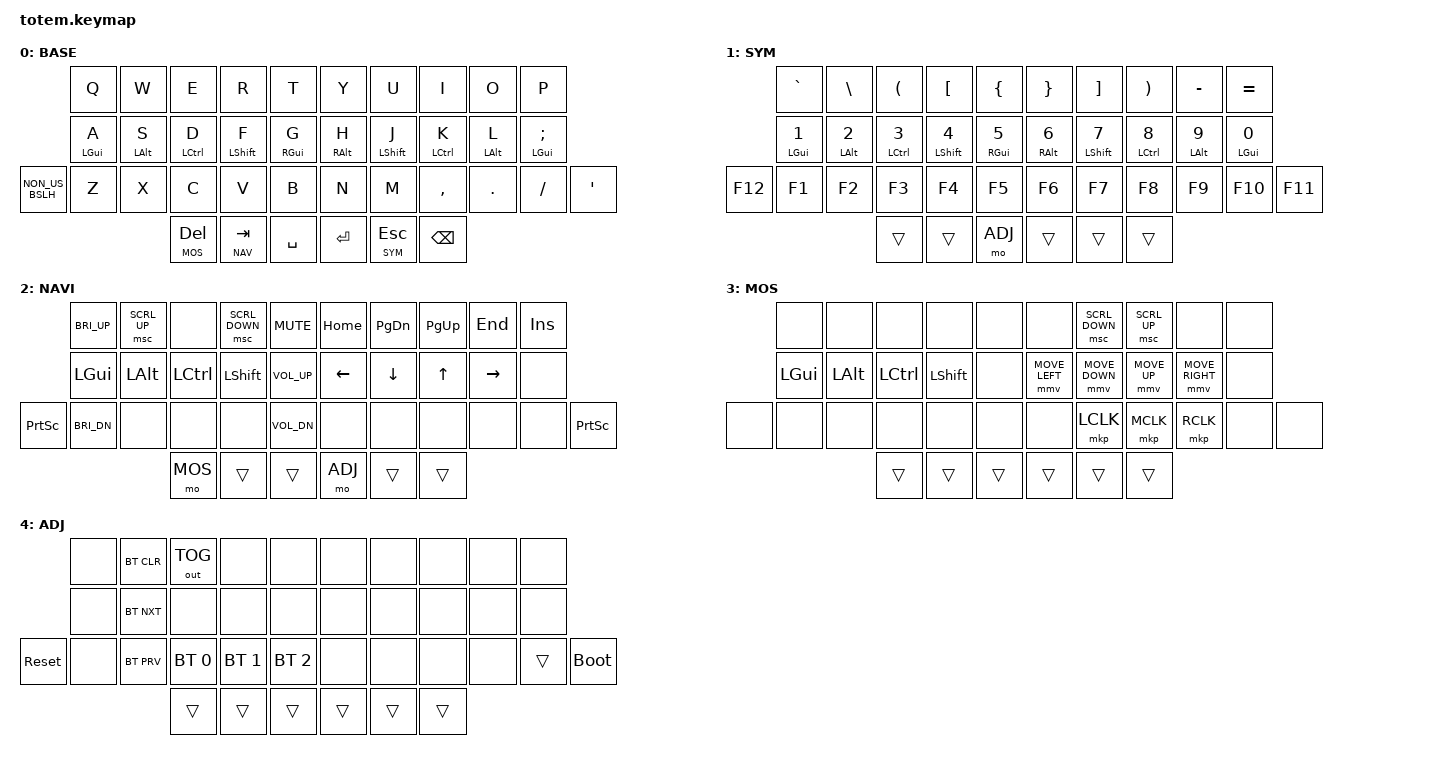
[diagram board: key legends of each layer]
//
//                                                        ▀▀▀▀▀     ▀▀▀▀▀          ▀▀█▀▀
//                                                        ▄▀▀▀▄  ▄  ▄▀▀▀▄  ▄  ▄▀▀▀▄  █  ▄▀▀▀▄
//                                                        █   █  █  █   █  █  █   █  █  █   █
//                                                         ▀▀▀   █   ▀▀▀   █   ▀▀▀   ▀   ▀▀▀
//                                                               █      ▄▄▄█▄▄▄    █   █
//                                                               ▀      █  █  █     █▄█
//                                                             ▀▀▀▀▀    █  █  █      ▀
//                                                                      ▀  ▀  ▀
//
// ▄▄▄▄▄▄▄▄▄▄▄▄▄▄▄▄▄▄▄▄▄▄▄▄▄▄▄▄▄▄▄▄▄▄▄▄▄▄▄▄▄▄▄▄▄▄▄▄▄▄▄▄▄▄▄▄▄▄▄▄▄▄▄▄▄▄▄▄▄▄▄▄▄▄▄▄▄▄▄▄▄▄▄▄▄▄▄▄▄▄▄▄▄▄▄▄▄▄▄▄▄▄▄▄▄▄▄▄▄▄▄▄▄▄▄▄▄▄▄▄▄▄▄▄▄▄▄▄▄▄▄▄▄▄▄▄▄▄▄▄▄▄▄▄▄▄▄▄▄

#define ZMK_POINTING_DEFAULT_MOVE_VAL 1000  // default: 600
#define ZMK_POINTING_DEFAULT_SCRL_VAL 20    // default: 10

#include <behaviors.dtsi>
#include <dt-bindings/zmk/keys.h>
#include <dt-bindings/zmk/bt.h>
#include <dt-bindings/zmk/outputs.h>
#include <dt-bindings/zmk/pointing.h>

#define BASE 0
#define SYM  1
#define NAV  2
#define MOS  3
#define ADJ  4


&mmv {
    time-to-max-speed-ms = <200>;
    acceleration-exponent = <2>;
};

&msc {
    time-to-max-speed-ms = <200>;
    acceleration-exponent = <2>;
};

&mt {
  quick-tap-ms = <200>;
  global-quick-tap;
  flavor = "tap-preferred";
  tapping-term-ms = <200>;
};

/ {
     combos {
            compatible = "zmk,combos";
            combo_esc {
                timeout-ms = <50>;
                key-positions = <0 1>;
                bindings = <&kp ESC>;
            };
//            combo_tvp {
//                timeout-ms = <100>;
//                key-positions = <11 12 13>;
//                bindings = <&tog TVP1>;
//            };
    };

//    macros {
//        gif: gif {
//            label = "giphy";
//            compatible = "zmk,behavior-macro";
//            #binding-cells = <0>;
//            bindings
//                = <&macro_press &kp LSHFT>
//                , <&macro_tap &kp N2>
//                , <&macro_release &kp LSHFT>
//                , <&macro_tap &kp G &kp I &kp F>
//                ;
//        };
//    };

        keymap {
                compatible = "zmk,keymap";
// ▄▄▄▄▄▄▄▄▄▄▄▄▄▄▄▄▄▄▄▄▄▄▄▄▄▄▄▄▄▄▄▄▄▄▄▄▄▄▄▄▄▄▄▄▄▄▄▄▄▄▄▄▄▄▄▄▄▄▄▄▄▄▄▄▄▄▄▄▄▄▄▄▄▄▄▄▄▄▄▄▄▄▄▄▄▄▄▄▄▄▄▄▄▄▄▄▄▄▄▄▄▄▄▄▄▄▄▄▄▄▄▄▄▄▄▄▄▄▄▄▄▄▄▄▄▄▄▄▄▄▄▄▄▄▄▄▄▄▄▄▄▄▄▄▄▄▄▄▄

                base_layer {
// ┏━━━━━━━━━━━━━━━━━━━━━━━━━━━━━━━━━━━━━━━┓
label= "BASE"                              ;
// ┗━━━━━━━━━━━━━━━━━━━━━━━━━━━━━━━━━━━━━━━┛
//             ┏━━━━━━━━━━━┳━━━━━━━━━━━┳━━━━━━━━━━━┳━━━━━━━━━━━┳━━━━━━━━━━━┓   ┏━━━━━━━━━━━┳━━━━━━━━━━━┳━━━━━━━━━━━┳━━━━━━━━━━━┳━━━━━━━━━━━┓
//             ┃     Q     ┃     W     ┃     E     ┃     R     ┃     T     ┃   ┃     Y     ┃     U     ┃     I     ┃     O     ┃     P     ┃
//             ┣━━━━━━━━━━━╋━━━━━━━━━━━╋━━━━━━━━━━━╋━━━━━━━━━━━╋━━━━━━━━━━━┫   ┣━━━━━━━━━━━╋━━━━━━━━━━━╋━━━━━━━━━━━╋━━━━━━━━━━━╋━━━━━━━━━━━┫
//             ┃     A     ┃     S     ┃     D     ┃     F     ┃     G     ┃   ┃     H     ┃     J     ┃     K     ┃     L     ┃     ;     ┃
// ┏━━━━━━━━━━━╋━━━━━━━━━━━╋━━━━━━━━━━━╋━━━━━━━━━━━╋━━━━━━━━━━━╋━━━━━━━━━━━┫   ┣━━━━━━━━━━━╋━━━━━━━━━━━╋━━━━━━━━━━━╋━━━━━━━━━━━╋━━━━━━━━━━━╋━━━━━━━━━━━┓
// ┃     \     ┃     Z     ┃     X     ┃     C     ┃     V     ┃     B     ┃   ┃     N     ┃     M     ┃     ,     ┃     .     ┃     /     ┃     '     ┃
// ┗━━━━━━━━━━━┻━━━━━━━━━━━┻━━━━━━━━━━━╋━━━━━━━━━━━╋━━━━━━━━━━━╋━━━━━━━━━━━┫   ┣━━━━━━━━━━━╋━━━━━━━━━━━╋━━━━━━━━━━━╋━━━━━━━━━━━┻━━━━━━━━━━━┻━━━━━━━━━━━┛
//                                     ┃    DEL    ┃    TAB    ┃    SPC    ┃   ┃   ENTER   ┃    ESC    ┃   BSPC    ┃
//                                     ┗━━━━━━━━━━━┻━━━━━━━━━━━┻━━━━━━━━━━━┛   ┗━━━━━━━━━━━┻━━━━━━━━━━━┻━━━━━━━━━━━┛
 bindings = <
// ╷           ╷           ╷           ╷           ╷           ╷           ╷   ╷           ╷           ╷           ╷           ╷           ╷           ╷

                &kp Q       &kp W       &kp E       &kp R       &kp T           &kp Y       &kp U       &kp I       &kp O       &kp P
                &mt LGUI A  &mt LALT S  &mt LCTRL D &mt LSHFT F &mt RGUI G      &mt RALT H  &mt LSHFT J &mt LCTRL K &mt LALT L  &mt LGUI SEMI
    &kp NON_US_BSLH &kp Z   &kp X       &kp C       &kp V       &kp B           &kp N       &kp M       &kp COMMA   &kp DOT     &kp FSLH    &kp APOS
                                        &lt MOS DEL &lt NAV TAB &kp SPACE       &kp RET     &lt SYM ESC &kp BSPC
                        >;
                };

// ▄▄▄▄▄▄▄▄▄▄▄▄▄▄▄▄▄▄▄▄▄▄▄▄▄▄▄▄▄▄▄▄▄▄▄▄▄▄▄▄▄▄▄▄▄▄▄▄▄▄▄▄▄▄▄▄▄▄▄▄▄▄▄▄▄▄▄▄▄▄▄▄▄▄▄▄▄▄▄▄▄▄▄▄▄▄▄▄▄▄▄▄▄▄▄▄▄▄▄▄▄▄▄▄▄▄▄▄▄▄▄▄▄▄▄▄▄▄▄▄▄▄▄▄▄▄▄▄▄▄▄▄▄▄▄▄▄▄▄▄▄▄▄▄▄▄▄▄▄


                sim_layer {
// ┏━━━━━━━━━━━━━━━━━━━━━━━━━━━━━━━━━━━━━━━┓
label= "SYM"                               ;
// ┗━━━━━━━━━━━━━━━━━━━━━━━━━━━━━━━━━━━━━━━┛
//             ┏━━━━━━━━━━━┳━━━━━━━━━━━┳━━━━━━━━━━━┳━━━━━━━━━━━┳━━━━━━━━━━━┓   ┏━━━━━━━━━━━┳━━━━━━━━━━━┳━━━━━━━━━━━┳━━━━━━━━━━━┳━━━━━━━━━━━┓
//             ┃     `     ┃     \     ┃     (     ┃     [     ┃     {     ┃   ┃     }     ┃     ]     ┃     )     ┃     -     ┃     =     ┃
//             ┣━━━━━━━━━━━╋━━━━━━━━━━━╋━━━━━━━━━━━╋━━━━━━━━━━━╋━━━━━━━━━━━┫   ┣━━━━━━━━━━━╋━━━━━━━━━━━╋━━━━━━━━━━━╋━━━━━━━━━━━╋━━━━━━━━━━━┫
//             ┃     1     ┃     2     ┃     3     ┃     4     ┃     5     ┃   ┃     6     ┃     7     ┃     8     ┃     9     ┃     0     ┃
// ┏━━━━━━━━━━━╋━━━━━━━━━━━╋━━━━━━━━━━━╋━━━━━━━━━━━╋━━━━━━━━━━━╋━━━━━━━━━━━┫   ┣━━━━━━━━━━━╋━━━━━━━━━━━╋━━━━━━━━━━━╋━━━━━━━━━━━╋━━━━━━━━━━━╋━━━━━━━━━━━┓
// ┃   F12     ┃     F1    ┃     F2    ┃     F3    ┃     F4    ┃     F5    ┃   ┃     F6    ┃     F7    ┃     F8    ┃     F9    ┃    F10    ┃    F11    ┃
// ┗━━━━━━━━━━━┻━━━━━━━━━━━┻━━━━━━━━━━━╋━━━━━━━━━━━╋━━━━━━━━━━━╋━━━━━━━━━━━┫   ┣━━━━━━━━━━━╋━━━━━━━━━━━╋━━━━━━━━━━━╋━━━━━━━━━━━┻━━━━━━━━━━━┻━━━━━━━━━━━┛
//                                     ┃           ┃           ┃    ADJ    ┃   ┃           ┃           ┃           ┃
//                                     ┗━━━━━━━━━━━┻━━━━━━━━━━━┻━━━━━━━━━━━┛   ┗━━━━━━━━━━━┻━━━━━━━━━━━┻━━━━━━━━━━━┛
 bindings = <
// ╷           ╷           ╷           ╷           ╷           ╷           ╷   ╷           ╷           ╷           ╷           ╷           ╷           ╷

                &kp GRAVE   &kp BSLH    &kp LPAR    &kp LBKT    &kp LBRC        &kp RBRC    &kp RBKT    &kp RPAR    &kp MINUS    &kp EQUAL
                &mt LGUI N1 &mt LALT N2 &mt LCTRL N3 &mt LSHFT N4 &mt RGUI N5   &mt RALT N6 &mt LSHFT N7 &mt LCTRL N8 &mt LALT N9 &mt LGUI N0
    &kp F12     &kp F1      &kp F2      &kp F3      &kp F4      &kp F5          &kp F6      &kp F7      &kp F8      &kp F9      &kp F10     &kp F11
                                        &trans      &trans      &mo ADJ         &trans      &trans      &trans
                        >;
                };

// ▄▄▄▄▄▄▄▄▄▄▄▄▄▄▄▄▄▄▄▄▄▄▄▄▄▄▄▄▄▄▄▄▄▄▄▄▄▄▄▄▄▄▄▄▄▄▄▄▄▄▄▄▄▄▄▄▄▄▄▄▄▄▄▄▄▄▄▄▄▄▄▄▄▄▄▄▄▄▄▄▄▄▄▄▄▄▄▄▄▄▄▄▄▄▄▄▄▄▄▄▄▄▄▄▄▄▄▄▄▄▄▄▄▄▄▄▄▄▄▄▄▄▄▄▄▄▄▄▄▄▄▄▄▄▄▄▄▄▄▄▄▄▄▄▄▄▄▄▄


                nav_layer {
// ┏━━━━━━━━━━━━━━━━━━━━━━━━━━━━━━━━━━━━━━━┓
label= "NAVI"                              ;
// ┗━━━━━━━━━━━━━━━━━━━━━━━━━━━━━━━━━━━━━━━┛
//             ┏━━━━━━━━━━━┳━━━━━━━━━━━┳━━━━━━━━━━━┳━━━━━━━━━━━┳━━━━━━━━━━━┓   ┏━━━━━━━━━━━┳━━━━━━━━━━━┳━━━━━━━━━━━┳━━━━━━━━━━━┳━━━━━━━━━━━┓
//             ┃   BR UP   ┃ SCRL UP   ┃  M UP     ┃ SCRL DN   ┃  MUTE     ┃   ┃   HOME    ┃  PG DN    ┃  PG UP    ┃    END    ┃   INS     ┃
//             ┣━━━━━━━━━━━╋━━━━━━━━━━━╋━━━━━━━━━━━╋━━━━━━━━━━━╋━━━━━━━━━━━┫   ┣━━━━━━━━━━━╋━━━━━━━━━━━╋━━━━━━━━━━━╋━━━━━━━━━━━╋━━━━━━━━━━━┫
//             ┃   LGUI    ┃  LALT     ┃  LCTRL    ┃  LSHIFT   ┃ VOL UP    ┃   ┃   LEFT    ┃   DOWRN   ┃     UP    ┃   RIGHT   ┃   DEL     ┃
// ┏━━━━━━━━━━━╋━━━━━━━━━━━╋━━━━━━━━━━━╋━━━━━━━━━━━╋━━━━━━━━━━━╋━━━━━━━━━━━┫   ┣━━━━━━━━━━━╋━━━━━━━━━━━╋━━━━━━━━━━━╋━━━━━━━━━━━╋━━━━━━━━━━━╋━━━━━━━━━━━┓
// ┃  PRT SCR  ┃   BR DN   ┃           ┃           ┃           ┃ VOL DN    ┃   ┃           ┃           ┃           ┃           ┃           ┃  PRT SCR  ┃
// ┗━━━━━━━━━━━┻━━━━━━━━━━━┻━━━━━━━━━━━╋━━━━━━━━━━━╋━━━━━━━━━━━╋━━━━━━━━━━━┫   ┣━━━━━━━━━━━╋━━━━━━━━━━━╋━━━━━━━━━━━╋━━━━━━━━━━━┻━━━━━━━━━━━┻━━━━━━━━━━━┛
//                                     ┃  MOS      ┃           ┃           ┃   ┃   ADJ     ┃           ┃           ┃
//                                     ┗━━━━━━━━━━━┻━━━━━━━━━━━┻━━━━━━━━━━━┛   ┗━━━━━━━━━━━┻━━━━━━━━━━━┻━━━━━━━━━━━┛
 bindings = <
// ╷           ╷           ╷           ╷           ╷           ╷           ╷   ╷           ╷           ╷           ╷           ╷           ╷           ╷

               &kp C_BRI_UP &msc SCRL_UP &none      &msc SCRL_DOWN &kp C_MUTE   &kp HOME    &kp PG_DN   &kp PG_UP   &kp END     &kp INS
               &kp LGUI     &kp LALT    &kp LCTRL   &kp LSHFT   &kp C_VOL_UP    &kp LEFT    &kp DOWN    &kp UP      &kp RIGHT   &none
    &kp PSCRN  &kp C_BRI_DN &none       &none       &none       &kp C_VOL_DN    &none       &none       &none       &none       &none       &kp PSCRN
                                        &mo MOS     &trans      &trans          &mo ADJ     &trans      &trans
                        >;
                };

// ▄▄▄▄▄▄▄▄▄▄▄▄▄▄▄▄▄▄▄▄▄▄▄▄▄▄▄▄▄▄▄▄▄▄▄▄▄▄▄▄▄▄▄▄▄▄▄▄▄▄▄▄▄▄▄▄▄▄▄▄▄▄▄▄▄▄▄▄▄▄▄▄▄▄▄▄▄▄▄▄▄▄▄▄▄▄▄▄▄▄▄▄▄▄▄▄▄▄▄▄▄▄▄▄▄▄▄▄▄▄▄▄▄▄▄▄▄▄▄▄▄▄▄▄▄▄▄▄▄▄▄▄▄▄▄▄▄▄▄▄▄▄▄▄▄▄▄▄▄


                ms_layer {
// ┏━━━━━━━━━━━━━━━━━━━━━━━━━━━━━━━━━━━━━━━┓
label= "MOS"                               ;
// ┗━━━━━━━━━━━━━━━━━━━━━━━━━━━━━━━━━━━━━━━┛
//             ┏━━━━━━━━━━━┳━━━━━━━━━━━┳━━━━━━━━━━━┳━━━━━━━━━━━┳━━━━━━━━━━━┓   ┏━━━━━━━━━━━┳━━━━━━━━━━━┳━━━━━━━━━━━┳━━━━━━━━━━━┳━━━━━━━━━━━┓
//             ┃           ┃           ┃           ┃           ┃           ┃   ┃           ┃ SCRL DN   ┃ SCRL UP   ┃           ┃           ┃
//             ┣━━━━━━━━━━━╋━━━━━━━━━━━╋━━━━━━━━━━━╋━━━━━━━━━━━╋━━━━━━━━━━━┫   ┣━━━━━━━━━━━╋━━━━━━━━━━━╋━━━━━━━━━━━╋━━━━━━━━━━━╋━━━━━━━━━━━┫
//             ┃   LGUI    ┃  LALT     ┃  LCTRL    ┃  LSHIFT   ┃           ┃   ┃ M LEFT    ┃ M DOWN    ┃   M UP    ┃ M RIGHT   ┃           ┃
// ┏━━━━━━━━━━━╋━━━━━━━━━━━╋━━━━━━━━━━━╋━━━━━━━━━━━╋━━━━━━━━━━━╋━━━━━━━━━━━┫   ┣━━━━━━━━━━━╋━━━━━━━━━━━╋━━━━━━━━━━━╋━━━━━━━━━━━╋━━━━━━━━━━━╋━━━━━━━━━━━┓
// ┃           ┃           ┃           ┃           ┃           ┃           ┃   ┃           ┃  MB LEFT  ┃ MB MIDDLE ┃ MB RIGHT  ┃           ┃           ┃
// ┗━━━━━━━━━━━┻━━━━━━━━━━━┻━━━━━━━━━━━╋━━━━━━━━━━━╋━━━━━━━━━━━╋━━━━━━━━━━━┫   ┣━━━━━━━━━━━╋━━━━━━━━━━━╋━━━━━━━━━━━╋━━━━━━━━━━━┻━━━━━━━━━━━┻━━━━━━━━━━━┛
//                                     ┃           ┃           ┃           ┃   ┃           ┃           ┃           ┃
//                                     ┗━━━━━━━━━━━┻━━━━━━━━━━━┻━━━━━━━━━━━┛   ┗━━━━━━━━━━━┻━━━━━━━━━━━┻━━━━━━━━━━━┛
 bindings = <
// ╷           ╷           ╷           ╷           ╷           ╷           ╷   ╷           ╷           ╷           ╷           ╷           ╷           ╷

                &none       &none       &none       &none       &none           &none       &msc SCRL_DOWN &msc SCRL_UP &none    &none
                &kp LGUI    &kp LALT    &kp LCTRL   &kp LSHFT   &none        &mmv MOVE_LEFT &mmv MOVE_DOWN &mmv MOVE_UP &mmv MOVE_RIGHT &none
    &none       &none       &none       &none       &none       &none           &none       &mkp LCLK   &mkp MCLK   &mkp RCLK    &none     &none
                                        &trans      &trans      &trans          &trans      &trans      &trans
                        >;
                };

// ▄▄▄▄▄▄▄▄▄▄▄▄▄▄▄▄▄▄▄▄▄▄▄▄▄▄▄▄▄▄▄▄▄▄▄▄▄▄▄▄▄▄▄▄▄▄▄▄▄▄▄▄▄▄▄▄▄▄▄▄▄▄▄▄▄▄▄▄▄▄▄▄▄▄▄▄▄▄▄▄▄▄▄▄▄▄▄▄▄▄▄▄▄▄▄▄▄▄▄▄▄▄▄▄▄▄▄▄▄▄▄▄▄▄▄▄▄▄▄▄▄▄▄▄▄▄▄▄▄▄▄▄▄▄▄▄▄▄▄▄▄▄▄▄▄▄▄▄▄


                adjust_layer {
// ┏━━━━━━━━━━━━━━━━━━━━━━━━━━━━━━━━━━━━━━━┓
label= "ADJ"                               ;
// ┗━━━━━━━━━━━━━━━━━━━━━━━━━━━━━━━━━━━━━━━┛
//             ┏━━━━━━━━━━━┳━━━━━━━━━━━┳━━━━━━━━━━━┳━━━━━━━━━━━┳━━━━━━━━━━━┓   ┏━━━━━━━━━━━┳━━━━━━━━━━━┳━━━━━━━━━━━┳━━━━━━━━━━━┳━━━━━━━━━━━┓
//             ┃           ┃ BT CLEAR  ┃  OUT TOG  ┃           ┃           ┃   ┃           ┃           ┃           ┃           ┃           ┃
//             ┣━━━━━━━━━━━╋━━━━━━━━━━━╋━━━━━━━━━━━╋━━━━━━━━━━━╋━━━━━━━━━━━┫   ┣━━━━━━━━━━━╋━━━━━━━━━━━╋━━━━━━━━━━━╋━━━━━━━━━━━╋━━━━━━━━━━━┫
//             ┃           ┃ BT NEXT   ┃           ┃           ┃           ┃   ┃           ┃           ┃           ┃           ┃           ┃
// ┏━━━━━━━━━━━╋━━━━━━━━━━━╋━━━━━━━━━━━╋━━━━━━━━━━━╋━━━━━━━━━━━╋━━━━━━━━━━━┫   ┣━━━━━━━━━━━╋━━━━━━━━━━━╋━━━━━━━━━━━╋━━━━━━━━━━━╋━━━━━━━━━━━╋━━━━━━━━━━━┓
// ┃  RESET    ┃           ┃ BT PREV   ┃   BT 1    ┃   BT 2    ┃   BT 3    ┃   ┃           ┃           ┃           ┃           ┃           ┃ BOOTLOAD  ┃
// ┗━━━━━━━━━━━┻━━━━━━━━━━━┻━━━━━━━━━━━╋━━━━━━━━━━━╋━━━━━━━━━━━╋━━━━━━━━━━━┫   ┣━━━━━━━━━━━╋━━━━━━━━━━━╋━━━━━━━━━━━╋━━━━━━━━━━━┻━━━━━━━━━━━┻━━━━━━━━━━━┛
//                                     ┃           ┃           ┃           ┃   ┃           ┃           ┃           ┃
//                                     ┗━━━━━━━━━━━┻━━━━━━━━━━━┻━━━━━━━━━━━┛   ┗━━━━━━━━━━━┻━━━━━━━━━━━┻━━━━━━━━━━━┛
 bindings = <
// ╷           ╷           ╷           ╷           ╷           ╷           ╷   ╷           ╷           ╷           ╷           ╷           ╷           ╷

                &none       &bt BT_CLR &out OUT_TOG &none       &none           &none       &none       &none       &none       &none
                &none       &bt BT_NXT  &none       &none       &none           &none       &none       &none       &none       &none
    &sys_reset  &none       &bt BT_PRV &bt BT_SEL 0 &bt BT_SEL 1 &bt BT_SEL 2   &none       &none       &none       &none       &trans     &bootloader
                                        &trans      &trans      &trans          &trans      &trans      &trans
                        >;
                };

// ▄▄▄▄▄▄▄▄▄▄▄▄▄▄▄▄▄▄▄▄▄▄▄▄▄▄▄▄▄▄▄▄▄▄▄▄▄▄▄▄▄▄▄▄▄▄▄▄▄▄▄▄▄▄▄▄▄▄▄▄▄▄▄▄▄▄▄▄▄▄▄▄▄▄▄▄▄▄▄▄▄▄▄▄▄▄▄▄▄▄▄▄▄▄▄▄▄▄▄▄▄▄▄▄▄▄▄▄▄▄▄▄▄▄▄▄▄▄▄▄▄▄▄▄▄▄▄▄▄▄▄▄▄▄▄▄▄▄▄▄▄▄▄▄▄▄▄▄▄

        };
};
